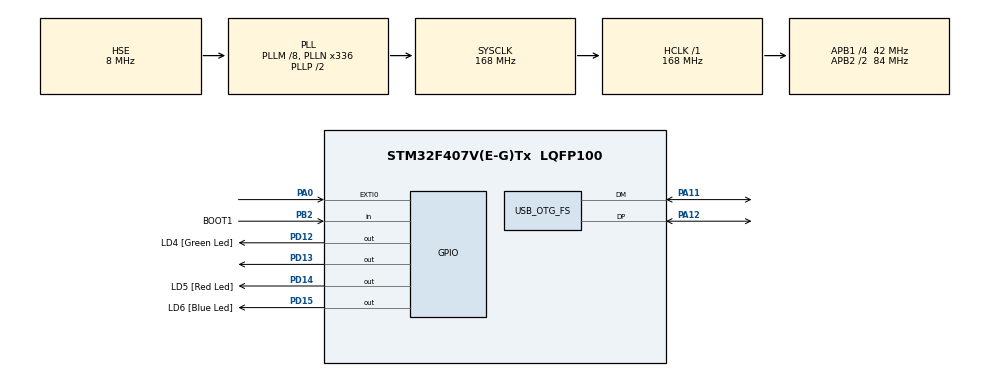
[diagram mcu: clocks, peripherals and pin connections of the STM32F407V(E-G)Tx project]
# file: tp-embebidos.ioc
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Mcu.Family=STM32F4
Mcu.Name=STM32F407V(E-G)Tx
Mcu.Package=LQFP100
NVIC.EXTI0_IRQn=true\:0\:0\:false\:false\:true\:true\:true\:true
NVIC.OTG_FS_IRQn=true\:0\:0\:false\:false\:true\:false\:true\:true
NVIC.PriorityGroup=NVIC_PRIORITYGROUP_0
PA0-WKUP.Signal=GPXTI0
PA11.Mode=Device_Only
PA11.Signal=USB_OTG_FS_DM
PA12.Mode=Device_Only
PA12.Signal=USB_OTG_FS_DP
PA13.GPIO_Label=SWDIO
PA13.Mode=Serial_Wire
PA13.Signal=SYS_JTMS-SWDIO
PA14.GPIO_Label=SWCLK
PA14.Mode=Serial_Wire
PA14.Signal=SYS_JTCK-SWCLK
PB2.GPIO_Label=BOOT1
PB2.GPIO_Mode=GPIO_MODE_INPUT
PB2.GPIO_PuPd=GPIO_NOPULL
PB2.Signal=GPIO_Input
PC14-OSC32_IN.GPIO_Label=PC14-OSC32_IN
PC14-OSC32_IN.Mode=LSE-External-Oscillator
PC14-OSC32_IN.Signal=RCC_OSC32_IN
PC15-OSC32_OUT.GPIO_Label=PC15-OSC32_OUT
PC15-OSC32_OUT.Mode=LSE-External-Oscillator
PC15-OSC32_OUT.Signal=RCC_OSC32_OUT
PD12.GPIO_Label=LD4 [Green Led]
PD12.GPIO_PuPd=GPIO_NOPULL
PD12.GPIO_Speed=GPIO_SPEED_FREQ_LOW
PD12.Signal=GPIO_Output
PD13.Signal=GPIO_Output
PD14.GPIO_Label=LD5 [Red Led]
PD14.GPIO_PuPd=GPIO_NOPULL
PD14.GPIO_Speed=GPIO_SPEED_FREQ_LOW
PD14.Signal=GPIO_Output
PD15.GPIO_Label=LD6 [Blue Led]
PD15.GPIO_PuPd=GPIO_NOPULL
PD15.GPIO_Speed=GPIO_SPEED_FREQ_LOW
PD15.Signal=GPIO_Output
PH0-OSC_IN.GPIO_Label=PH0-OSC_IN
PH0-OSC_IN.Mode=HSE-External-Oscillator
PH0-OSC_IN.Signal=RCC_OSC_IN
PH1-OSC_OUT.GPIO_Label=PH1-OSC_OUT
PH1-OSC_OUT.Mode=HSE-External-Oscillator
PH1-OSC_OUT.Signal=RCC_OSC_OUT
ProjectManager.HeapSize=0x200
ProjectManager.StackSize=0x400
ProjectManager.TargetToolchain=STM32CubeIDE
RCC.48MHZClocksFreq_Value=48000000
RCC.AHBFreq_Value=168000000
RCC.APB1CLKDivider=RCC_HCLK_DIV4
RCC.APB1Freq_Value=42000000
RCC.APB1TimFreq_Value=84000000
RCC.APB2CLKDivider=RCC_HCLK_DIV2
RCC.APB2Freq_Value=84000000
RCC.APB2TimFreq_Value=168000000
RCC.CortexFreq_Value=168000000
RCC.HCLKFreq_Value=168000000
RCC.HSE_VALUE=8000000
RCC.HSI_VALUE=16000000
RCC.PLLM=8
RCC.PLLN=336
RCC.PLLQ=7
RCC.PLLSourceVirtual=RCC_PLLSOURCE_HSE
RCC.SYSCLKFreq_VALUE=168000000
RCC.SYSCLKSource=RCC_SYSCLKSOURCE_PLLCLK
RCC.VCOOutputFreq_Value=336000000
USB_DEVICE.CLASS_NAME_FS=CDC
USB_DEVICE.VirtualMode-CDC_FS=Cdc
USB_DEVICE.VirtualModeFS=Cdc_FS
USB_OTG_FS.VirtualMode=Device_Only
VP_USB_DEVICE_VS_USB_DEVICE_CDC_FS.Mode=CDC_FS
board=STM32F407G-DISC1

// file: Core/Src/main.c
/* USER CODE BEGIN Header */
/**
 ******************************************************************************
 * @file           : main.c
 * @brief          : Main program body
 ******************************************************************************
 * @attention
 *
 * Copyright (c) 2023 STMicroelectronics.
 * All rights reserved.
 *
 * This software is licensed under terms that can be found in the LICENSE file
 * in the root directory of this software component.
 * If no LICENSE file comes with this software, it is provided AS-IS.
 *
 ******************************************************************************
 */
/* USER CODE END Header */
#include "main.h"
#include "usb_device.h"

/* USER CODE BEGIN Includes */
#include "queue.h"
#include "messages.h"
#include "usbd_cdc_if.h"

/* USER CODE END Includes */

void SystemClock_Config(void);
static void MX_GPIO_Init(void);

/* USER CODE BEGIN 0 */
volatile uint32_t buttonPressTime = 0;
volatile uint16_t counter = 0;
volatile uint8_t incrementCounterFlag = FALSE;
volatile uint32_t receivedMessageTime = 0;
volatile uint8_t receivedDataFlag = FALSE;
volatile uint8_t receivedData = 0;
CircularQueue queue;
/* USER CODE END 0 */

int main(void) {
	/* USER CODE BEGIN 1 */
	QUEUE_init(&queue);
	State currentState = STATE_IDLE;
	/* USER CODE END 1 */

	/* MCU Configuration--------------------------------------------------------*/

	/* Reset of all peripherals, Initializes the Flash interface and the Systick. */
	HAL_Init();

	/* Configure the system clock */
	SystemClock_Config();

	/* Initialize all configured peripherals */
	MX_GPIO_Init();
	MX_USB_DEVICE_Init();

	/* USER CODE BEGIN 2 */
	uint8_t txData = 0;
	uint8_t txStatus = 0;
	uint8_t command = 0;
	/* USER CODE END 2 */

	/* Infinite loop */
	while (1) {

		/* USER CODE BEGIN 3 */

		switch (currentState) {
		case STATE_IDLE:
			if (receivedDataFlag) {
				if ((receivedData > 48 && receivedData < 52) || receivedData == 'S' || receivedData == 'O') {
					command = receivedData;
					receivedMessageTime = HAL_GetTick();
					currentState = STATE_RECEIVED_1;
				} else {
					sendMessage(MESSAGE_ERROR, &queue);
				}
				receivedDataFlag = FALSE;
			}
			break;
		case STATE_RECEIVED_1:
			if (HAL_GetTick() - receivedMessageTime < MESSAGE_TIMEOUT_TIME) {
				if (receivedDataFlag) {
					if (receivedData == 0x0D) {
						receivedMessageTime = HAL_GetTick();
						currentState = STATE_RECEIVED_2;
					} else {
						currentState = STATE_IDLE;
						sendMessage(MESSAGE_ERROR, &queue);
					}
					receivedDataFlag = FALSE;
				}
			} else {
				currentState = STATE_IDLE;
				sendMessage(MESSAGE_TIMEOUT, &queue);
			}
			break;
		case STATE_RECEIVED_2:
			if (HAL_GetTick() - receivedMessageTime < MESSAGE_TIMEOUT_TIME) {
				if (receivedDataFlag) {
					if (receivedData == 0x0A) {
						receivedMessageTime = HAL_GetTick();
						currentState = STATE_COMPLETE;
					} else {
						currentState = STATE_IDLE;
						sendMessage(MESSAGE_ERROR, &queue);
					}
					receivedDataFlag = FALSE;
				}
			} else {
				currentState = STATE_IDLE;
				sendMessage(MESSAGE_TIMEOUT, &queue);
			}
			break;
		case STATE_COMPLETE:
			currentState = STATE_IDLE;
			sendMessage(MESSAGE_OK, &queue);
			switch (command) {
			case '1':
				HAL_GPIO_TogglePin(LD4_GPIO_Port, LD4_Pin);
				break;
			case '2':
				HAL_GPIO_TogglePin(LD5_GPIO_Port, LD5_Pin);
				break;
			case '3':
				HAL_GPIO_TogglePin(LD6_GPIO_Port, LD6_Pin);
				break;
			case 'S':
				HAL_GPIO_WritePin(LD4_GPIO_Port, LD4_Pin, GPIO_PIN_SET);
				HAL_GPIO_WritePin(LD5_GPIO_Port, LD5_Pin, GPIO_PIN_SET);
				HAL_GPIO_WritePin(LD6_GPIO_Port, LD6_Pin, GPIO_PIN_SET);
				break;
			case 'O':
				HAL_GPIO_WritePin(LD4_GPIO_Port, LD4_Pin, GPIO_PIN_RESET);
				HAL_GPIO_WritePin(LD5_GPIO_Port, LD5_Pin, GPIO_PIN_RESET);
				HAL_GPIO_WritePin(LD6_GPIO_Port, LD6_Pin, GPIO_PIN_RESET);

			}
			break;
		}

		if (!QUEUE_isEmpty(&queue)) {
			txData = QUEUE_dequeue(&queue);
			txStatus = CDC_Transmit_FS(&txData, 1);
			while (txStatus == USBD_BUSY) {
				txStatus = CDC_Transmit_FS(&txData, 1);
			}
		}

		if (incrementCounterFlag) {
			counter++;
			QUEUE_enqueue(&queue, counter);
			incrementCounterFlag = FALSE;
		}
	}
	/* USER CODE END 3 */
}

void SystemClock_Config(void) {
	RCC_OscInitTypeDef RCC_OscInitStruct = { 0 };
	RCC_ClkInitTypeDef RCC_ClkInitStruct = { 0 };

	/** Configure the main internal regulator output voltage
	 */
	__HAL_RCC_PWR_CLK_ENABLE();
	__HAL_PWR_VOLTAGESCALING_CONFIG(PWR_REGULATOR_VOLTAGE_SCALE1);

	/** Initializes the RCC Oscillators according to the specified parameters
	 * in the RCC_OscInitTypeDef structure.
	 */
	RCC_OscInitStruct.OscillatorType = RCC_OSCILLATORTYPE_HSE;
	RCC_OscInitStruct.HSEState = RCC_HSE_ON;
	RCC_OscInitStruct.PLL.PLLState = RCC_PLL_ON;
	RCC_OscInitStruct.PLL.PLLSource = RCC_PLLSOURCE_HSE;
	RCC_OscInitStruct.PLL.PLLM = 8;
	RCC_OscInitStruct.PLL.PLLN = 336;
	RCC_OscInitStruct.PLL.PLLP = RCC_PLLP_DIV2;
	RCC_OscInitStruct.PLL.PLLQ = 7;
	if (HAL_RCC_OscConfig(&RCC_OscInitStruct) != HAL_OK) {
		Error_Handler();
	}

	/** Initializes the CPU, AHB and APB buses clocks
	 */
	RCC_ClkInitStruct.ClockType = RCC_CLOCKTYPE_HCLK | RCC_CLOCKTYPE_SYSCLK
			| RCC_CLOCKTYPE_PCLK1 | RCC_CLOCKTYPE_PCLK2;
	RCC_ClkInitStruct.SYSCLKSource = RCC_SYSCLKSOURCE_PLLCLK;
	RCC_ClkInitStruct.AHBCLKDivider = RCC_SYSCLK_DIV1;
	RCC_ClkInitStruct.APB1CLKDivider = RCC_HCLK_DIV4;
	RCC_ClkInitStruct.APB2CLKDivider = RCC_HCLK_DIV2;

	if (HAL_RCC_ClockConfig(&RCC_ClkInitStruct, FLASH_LATENCY_5) != HAL_OK) {
		Error_Handler();
	}
}

static void MX_GPIO_Init(void) {
	GPIO_InitTypeDef GPIO_InitStruct = { 0 };

	/* GPIO Ports Clock Enable */
	__HAL_RCC_GPIOC_CLK_ENABLE();
	__HAL_RCC_GPIOH_CLK_ENABLE();
	__HAL_RCC_GPIOA_CLK_ENABLE();
	__HAL_RCC_GPIOB_CLK_ENABLE();
	__HAL_RCC_GPIOD_CLK_ENABLE();

	/*Configure GPIO pin Output Level */
	HAL_GPIO_WritePin(GPIOD, LD4_Pin | GPIO_PIN_13 | LD5_Pin | LD6_Pin,
			GPIO_PIN_RESET);

	/*Configure GPIO pin : PA0 */
	GPIO_InitStruct.Pin = GPIO_PIN_0;
	GPIO_InitStruct.Mode = GPIO_MODE_IT_RISING;
	GPIO_InitStruct.Pull = GPIO_NOPULL;
	HAL_GPIO_Init(GPIOA, &GPIO_InitStruct);

	/*Configure GPIO pin : BOOT1_Pin */
	GPIO_InitStruct.Pin = BOOT1_Pin;
	GPIO_InitStruct.Mode = GPIO_MODE_INPUT;
	GPIO_InitStruct.Pull = GPIO_NOPULL;
	HAL_GPIO_Init(BOOT1_GPIO_Port, &GPIO_InitStruct);

	/*Configure GPIO pins : LD4_Pin PD13 LD5_Pin LD6_Pin */
	GPIO_InitStruct.Pin = LD4_Pin | GPIO_PIN_13 | LD5_Pin | LD6_Pin;
	GPIO_InitStruct.Mode = GPIO_MODE_OUTPUT_PP;
	GPIO_InitStruct.Pull = GPIO_NOPULL;
	GPIO_InitStruct.Speed = GPIO_SPEED_FREQ_LOW;
	HAL_GPIO_Init(GPIOD, &GPIO_InitStruct);

	/* EXTI interrupt init*/
	HAL_NVIC_SetPriority(EXTI0_IRQn, 0, 0);
	HAL_NVIC_EnableIRQ(EXTI0_IRQn);

}

/* USER CODE BEGIN 4 */
void HAL_GPIO_EXTI_Callback(uint16_t GPIO_Pin) {
	uint32_t currentTime = HAL_GetTick();

	if ((currentTime - buttonPressTime) >= DEBOUNCE_DELAY) {
		incrementCounterFlag = TRUE;
		buttonPressTime = currentTime;
	}
}

void USB_CDC_ReceiveCallback(uint8_t *Buf, uint32_t Len) {
	receivedDataFlag = TRUE;
	receivedData = Buf[0];
}
/* USER CODE END 4 */

void Error_Handler(void) {
	__disable_irq();
	while (1) {
	}
}
